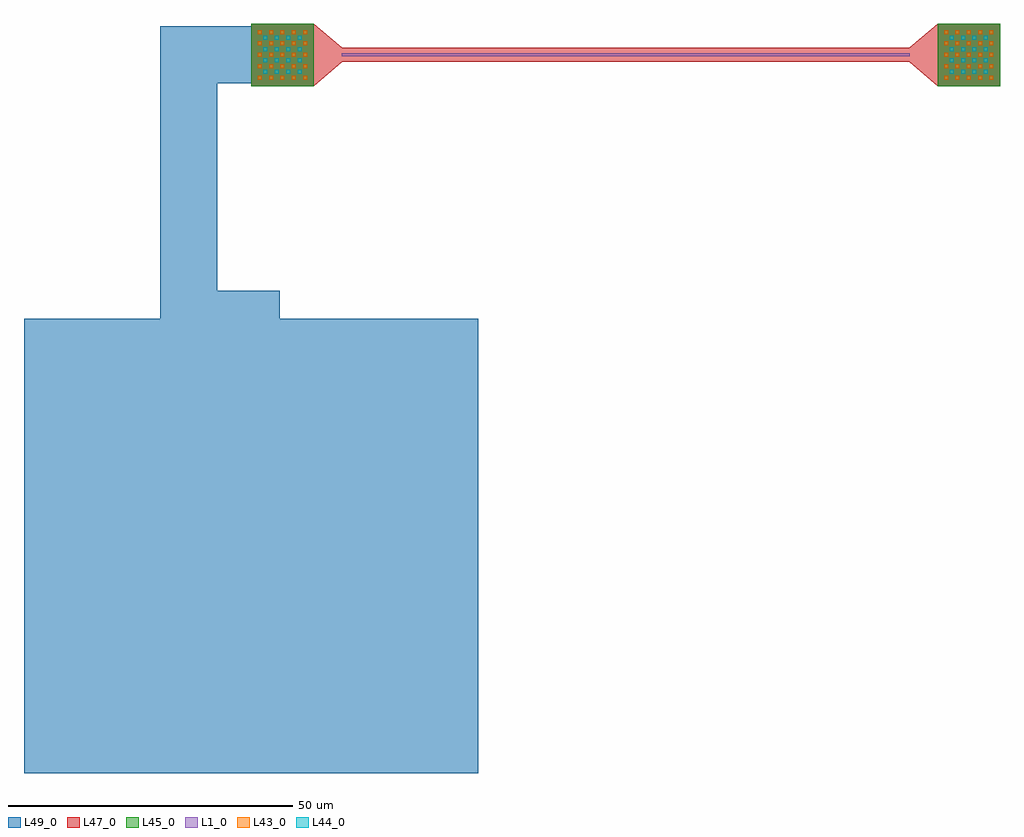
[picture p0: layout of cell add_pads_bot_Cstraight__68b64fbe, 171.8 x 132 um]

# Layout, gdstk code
from math import pi, radians
import gdstk
lib = gdstk.Library(unit=1e-6, precision=1e-09)
def R(c, l, rs):  # rectangles x0, y0, x1, y1
    for r in rs: c.add(gdstk.rectangle(r[:2], r[2:], *l))
def P(c, l, *ps):  # polygons
    for p in ps: c.add(gdstk.Polygon(p, *l))
L1_0 = (1, 0)
L43_0 = (43, 0)
L44_0 = (44, 0)
L45_0 = (45, 0)
L47_0 = (47, 0)
L49_0 = (49, 0)

compass_s11_11_lheater__ = lib.new_cell('compass_S11_11_LHEATER__6b58af85')
R(compass_s11_11_lheater__, L47_0, [(-5.5,-5.5,5.5,5.5)])

compass_s11_11_lm2_ptel_ = lib.new_cell('compass_S11_11_LM2_PTel_8e0aadc7')
R(compass_s11_11_lm2_ptel_, L45_0, [(-5.5,-5.5,5.5,5.5)])

compass_s11_11_lmtop_pt_ = lib.new_cell('compass_S11_11_LMTOP_PT_0444755b')
R(compass_s11_11_lmtop_pt_, L49_0, [(-5.5,-5.5,5.5,5.5)])

via_s0p7_0p7_s2_2_gnone_ = lib.new_cell('via_S0p7_0p7_S2_2_GNone_27ed834e')
R(via_s0p7_0p7_s2_2_gnone_, L44_0, [(-0.35,-0.35,0.35,0.35)])

c_via_s0p7_0p7_s2_2_gnone_ = lib.new_cell('via_S0p7_0p7_S2_2_GNone_59a996bf')
R(c_via_s0p7_0p7_s2_2_gnone_, L43_0, [(-0.35,-0.35,0.35,0.35)])

via_stack_s11_11_lheate_ = lib.new_cell('via_stack_S11_11_LHEATE_0be35fd8')
via_stack_s11_11_lheate_.add(gdstk.Reference(compass_s11_11_lheater__, (0,0)))
via_stack_s11_11_lheate_.add(gdstk.Reference(compass_s11_11_lm2_ptel_, (0,0)))
via_stack_s11_11_lheate_.add(gdstk.Reference(compass_s11_11_lmtop_pt_, (0,0)))
r = gdstk.Reference(via_s0p7_0p7_s2_2_gnone_, (-3,-3)); r.repetition = gdstk.Repetition(4, 4, v1=(2,0), v2=(0,2)); via_stack_s11_11_lheate_.add(r)
r = gdstk.Reference(c_via_s0p7_0p7_s2_2_gnone_, (-4,-4)); r.repetition = gdstk.Repetition(5, 5, v1=(2,0), v2=(0,2)); via_stack_s11_11_lheate_.add(r)

taper_l5_w11_w2p5_pnone_ = lib.new_cell('taper_L5_W11_W2p5_PNone_a648d1fb')
P(taper_l5_w11_w2p5_pnone_, L47_0, [(0,-5.5),(0,5.5),(5,1.25),(5,-1.25)])

straight_l0p1_n2_csstrip = lib.new_cell('straight_L0p1_N2_CSstrip')
R(straight_l0p1_n2_csstrip, L1_0, [(0,-0.25,0.1,0.25)])

straight_l2p4_n2_csstri_ = lib.new_cell('straight_L2p4_N2_CSstri_ba9f12b5')
R(straight_l2p4_n2_csstri_, L1_0, [(0,-0.25,2.4,0.25)])
R(straight_l2p4_n2_csstri_, L47_0, [(0,-1.25,2.4,1.25)])

straight_l5_n2_csstrip__ = lib.new_cell('straight_L5_N2_CSstrip__3b16ee7e')
R(straight_l5_n2_csstrip__, L1_0, [(0,-0.25,5,0.25)])
R(straight_l5_n2_csstrip__, L47_0, [(0,-1.25,5,1.25)])

straight_l0_n2_csstrip__ = lib.new_cell('straight_L0_N2_CSstrip__ee1ce12c')

straight_heater_metal_u_ = lib.new_cell('straight_heater_metal_u_b47dbaab')
straight_heater_metal_u_.add(gdstk.Reference(via_stack_s11_11_lheate_, (-10.4,0)))
straight_heater_metal_u_.add(gdstk.Reference(via_stack_s11_11_lheate_, (110.4,0)))
straight_heater_metal_u_.add(gdstk.Reference(taper_l5_w11_w2p5_pnone_, (-4.9,0)))
straight_heater_metal_u_.add(gdstk.Reference(taper_l5_w11_w2p5_pnone_, (104.9,0), rotation=pi))
straight_heater_metal_u_.add(gdstk.Reference(straight_l0p1_n2_csstrip, (0,0)))
straight_heater_metal_u_.add(gdstk.Reference(straight_l2p4_n2_csstri_, (0.1,0)))
straight_heater_metal_u_.add(gdstk.Reference(straight_l5_n2_csstrip__, (2.5,0)))
straight_heater_metal_u_.add(gdstk.Reference(straight_l0_n2_csstrip__, (7.5,0)))
straight_heater_metal_u_.add(gdstk.Reference(straight_l5_n2_csstrip__, (7.5,0)))
straight_heater_metal_u_.add(gdstk.Reference(straight_l0_n2_csstrip__, (12.5,0)))
straight_heater_metal_u_.add(gdstk.Reference(straight_l5_n2_csstrip__, (12.5,0)))
straight_heater_metal_u_.add(gdstk.Reference(straight_l0_n2_csstrip__, (17.5,0)))
straight_heater_metal_u_.add(gdstk.Reference(straight_l5_n2_csstrip__, (17.5,0)))
straight_heater_metal_u_.add(gdstk.Reference(straight_l0_n2_csstrip__, (22.5,0)))
straight_heater_metal_u_.add(gdstk.Reference(straight_l5_n2_csstrip__, (22.5,0)))
straight_heater_metal_u_.add(gdstk.Reference(straight_l0_n2_csstrip__, (27.5,0)))
straight_heater_metal_u_.add(gdstk.Reference(straight_l5_n2_csstrip__, (27.5,0)))
straight_heater_metal_u_.add(gdstk.Reference(straight_l0_n2_csstrip__, (32.5,0)))
straight_heater_metal_u_.add(gdstk.Reference(straight_l5_n2_csstrip__, (32.5,0)))
straight_heater_metal_u_.add(gdstk.Reference(straight_l0_n2_csstrip__, (37.5,0)))
straight_heater_metal_u_.add(gdstk.Reference(straight_l5_n2_csstrip__, (37.5,0)))
straight_heater_metal_u_.add(gdstk.Reference(straight_l0_n2_csstrip__, (42.5,0)))
straight_heater_metal_u_.add(gdstk.Reference(straight_l5_n2_csstrip__, (42.5,0)))
straight_heater_metal_u_.add(gdstk.Reference(straight_l0_n2_csstrip__, (47.5,0)))
straight_heater_metal_u_.add(gdstk.Reference(straight_l5_n2_csstrip__, (47.5,0)))
straight_heater_metal_u_.add(gdstk.Reference(straight_l0_n2_csstrip__, (52.5,0)))
straight_heater_metal_u_.add(gdstk.Reference(straight_l5_n2_csstrip__, (52.5,0)))
straight_heater_metal_u_.add(gdstk.Reference(straight_l0_n2_csstrip__, (57.5,0)))
straight_heater_metal_u_.add(gdstk.Reference(straight_l5_n2_csstrip__, (57.5,0)))
straight_heater_metal_u_.add(gdstk.Reference(straight_l0_n2_csstrip__, (62.5,0)))
straight_heater_metal_u_.add(gdstk.Reference(straight_l5_n2_csstrip__, (62.5,0)))
straight_heater_metal_u_.add(gdstk.Reference(straight_l0_n2_csstrip__, (67.5,0)))
straight_heater_metal_u_.add(gdstk.Reference(straight_l5_n2_csstrip__, (67.5,0)))
straight_heater_metal_u_.add(gdstk.Reference(straight_l0_n2_csstrip__, (72.5,0)))
straight_heater_metal_u_.add(gdstk.Reference(straight_l5_n2_csstrip__, (72.5,0)))
straight_heater_metal_u_.add(gdstk.Reference(straight_l0_n2_csstrip__, (77.5,0)))
straight_heater_metal_u_.add(gdstk.Reference(straight_l5_n2_csstrip__, (77.5,0)))
straight_heater_metal_u_.add(gdstk.Reference(straight_l0_n2_csstrip__, (82.5,0)))
straight_heater_metal_u_.add(gdstk.Reference(straight_l5_n2_csstrip__, (82.5,0)))
straight_heater_metal_u_.add(gdstk.Reference(straight_l0_n2_csstrip__, (87.5,0)))
straight_heater_metal_u_.add(gdstk.Reference(straight_l5_n2_csstrip__, (87.5,0)))
straight_heater_metal_u_.add(gdstk.Reference(straight_l0_n2_csstrip__, (92.5,0)))
straight_heater_metal_u_.add(gdstk.Reference(straight_l5_n2_csstrip__, (92.5,0)))
straight_heater_metal_u_.add(gdstk.Reference(straight_l0_n2_csstrip__, (97.5,0)))
straight_heater_metal_u_.add(gdstk.Reference(straight_l2p4_n2_csstri_, (97.5,0)))
straight_heater_metal_u_.add(gdstk.Reference(straight_l0p1_n2_csstrip, (99.9,0)))

wire_corner_csxs_113efcf = lib.new_cell('wire_corner_CSxs_113efcfb')
R(wire_corner_csxs_113efcf, L49_0, [(-5,-5,5,5)])

straight_l11_n2_csxs_0e_ = lib.new_cell('straight_L11_N2_CSxs_0e_1832a881')
R(straight_l11_n2_csxs_0e_, L49_0, [(0,-5,11,5)])

straight_l10p5_n2_csxs__ = lib.new_cell('straight_L10p5_N2_CSxs__0c9634c1')
R(straight_l10p5_n2_csxs__, L49_0, [(0,-5,10.5,5)])

pad_spad_size_lmtop_bln_ = lib.new_cell('pad_Spad_size_LMTOP_BLN_5fe46d58')
R(pad_spad_size_lmtop_bln_, L49_0, [(-40,-40,40,40)])

straight_l36_n2_csxs_0e_ = lib.new_cell('straight_L36_N2_CSxs_0e_6581ea9d')
R(straight_l36_n2_csxs_0e_, L49_0, [(0,-5,36,5)])

add_pads_bot_cstraight__ = lib.new_cell('add_pads_bot_Cstraight__68b64fbe')
add_pads_bot_cstraight__.add(gdstk.Reference(straight_heater_metal_u_, (0,0)))
add_pads_bot_cstraight__.add(gdstk.Reference(wire_corner_csxs_113efcf, (-26.9,0), rotation=pi/2, x_reflection=True))
add_pads_bot_cstraight__.add(gdstk.Reference(straight_l11_n2_csxs_0e_, (-26.9,0), x_reflection=True))
add_pads_bot_cstraight__.add(gdstk.Reference(straight_l10p5_n2_csxs__, (-26.9,0), rotation=3*pi/2, x_reflection=True))
add_pads_bot_cstraight__.add(gdstk.Reference(pad_spad_size_lmtop_bln_, (-15.9,-86.5), rotation=3*pi/2))
add_pads_bot_cstraight__.add(gdstk.Reference(wire_corner_csxs_113efcf, (-15.9,-46.5)))
add_pads_bot_cstraight__.add(gdstk.Reference(wire_corner_csxs_113efcf, (-26.9,-46.5), rotation=3*pi/2))
add_pads_bot_cstraight__.add(gdstk.Reference(straight_l11_n2_csxs_0e_, (-26.9,-46.5)))
add_pads_bot_cstraight__.add(gdstk.Reference(straight_l36_n2_csxs_0e_, (-26.9,-46.5), rotation=pi/2))
add_pads_bot_cstraight__.add(gdstk.Reference(straight_heater_metal_u_, (0,0)))

lib.write_gds('add_pads_bot_Cstraight__68b64fbe.gds')
